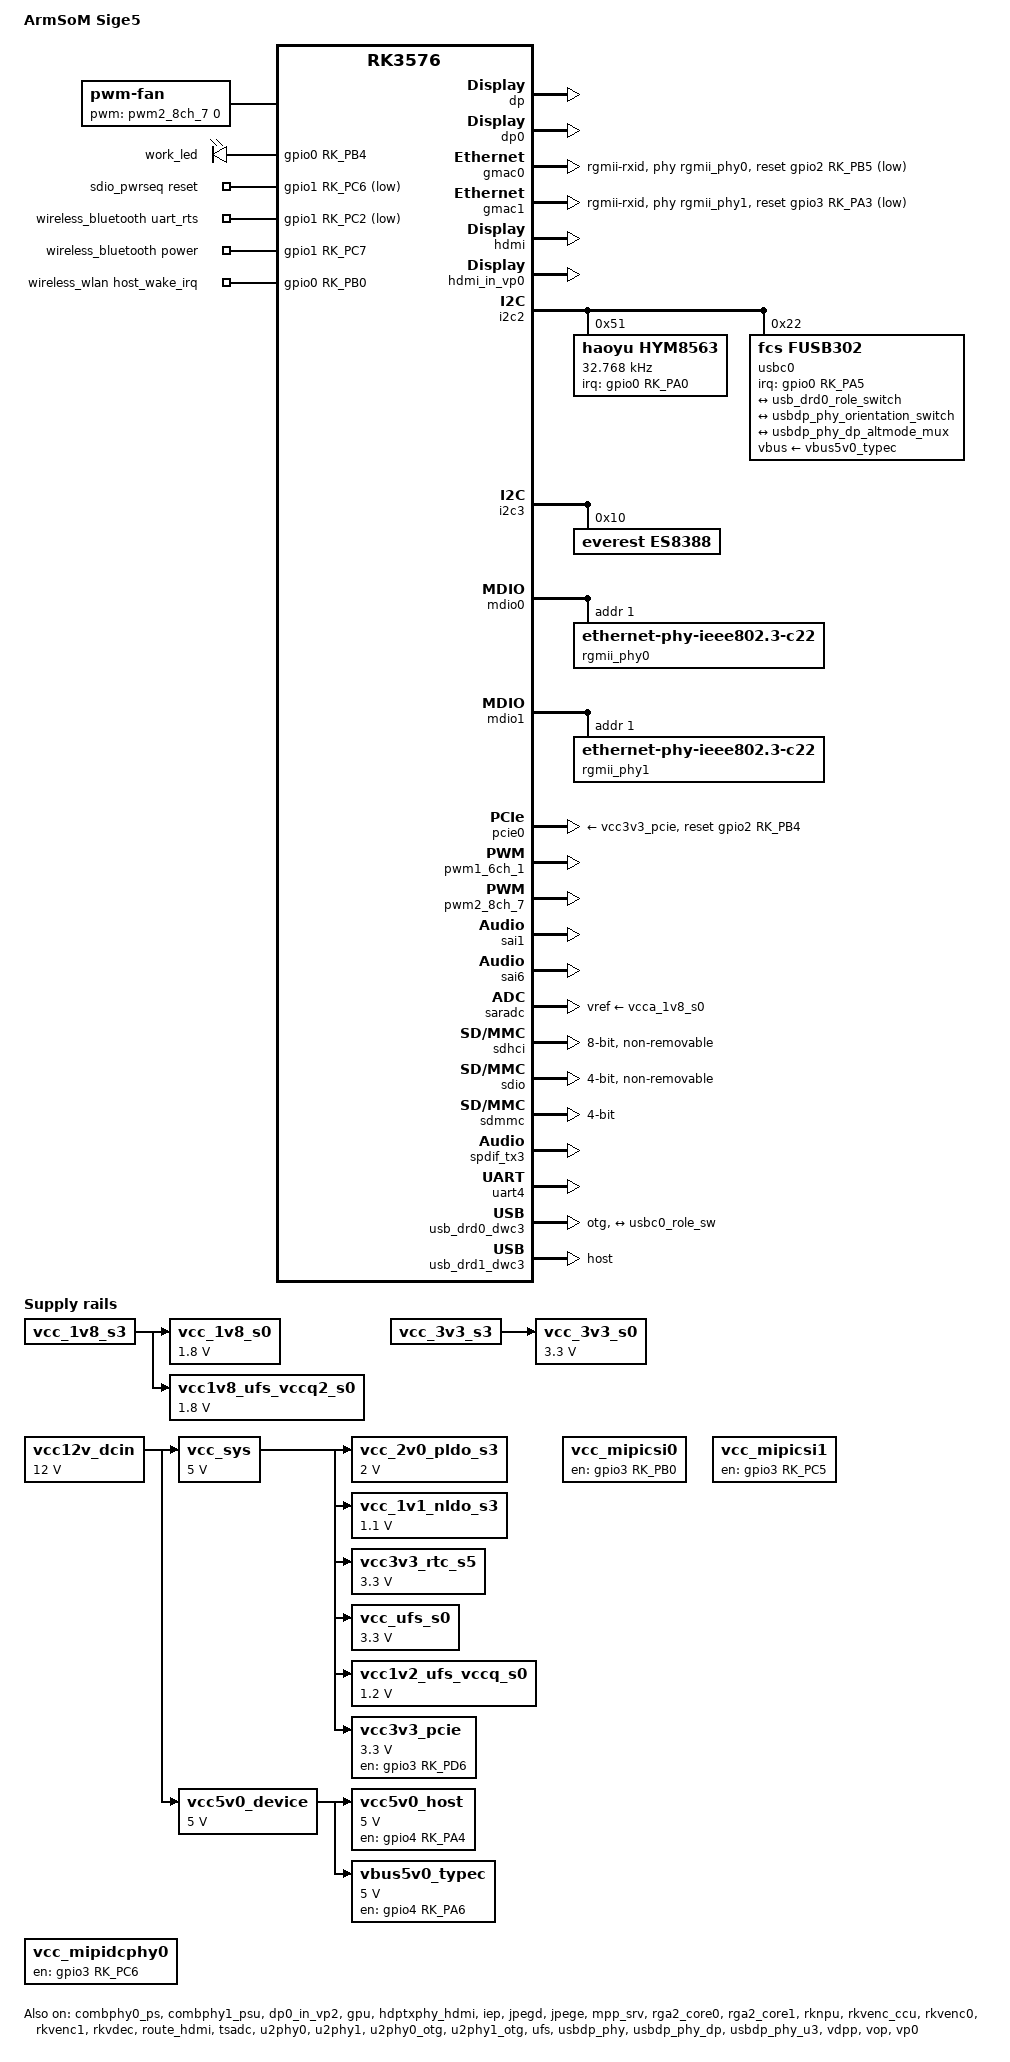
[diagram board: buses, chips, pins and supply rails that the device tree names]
// SPDX-License-Identifier: (GPL-2.0+ OR MIT)
/*
 * Copyright (c) 2024 Rockchip Electronics Co., Ltd.
 *
 */

/dts-v1/;

#include <dt-bindings/display/rockchip_vop.h>
#include <dt-bindings/gpio/gpio.h>
#include <dt-bindings/leds/common.h>
#include <dt-bindings/pinctrl/rockchip.h>
#include <dt-bindings/pwm/pwm.h>
#include <dt-bindings/usb/pd.h>
#include "rk3576.dtsi"
#include "rk3576-rk806.dtsi"
#include "rk3576-linux.dtsi"

/ {
	model = "ArmSoM Sige5";
	compatible = "armsom,sige5", "rockchip,rk3576";

	/delete-node/ chosen;

	dp0_sound: dp0-sound {
		compatible = "rockchip,hdmi";
		rockchip,mclk-fs = <512>;
		rockchip,card-name = "rockchip-dp0";
		rockchip,cpu = <&spdif_tx3>;
		rockchip,codec = <&dp0 1>;
		rockchip,jack-det;
	};

	es8388_sound: es8388-sound {
		status = "okay";
		compatible = "simple-audio-card";
		simple-audio-card,format = "i2s";
		simple-audio-card,mclk-fs = <256>;
		simple-audio-card,name = "rockchip,es8388-codec";
		simple-audio-card,dai-link@0 {
			format = "i2s";
			cpu {
				sound-dai = <&sai1>;
			};
			codec {
				sound-dai = <&es8388>;
			};
		};
	};
	
	fan: pwm-fan {
		compatible = "pwm-fan";
		#cooling-cells = <2>;
		pwms = <&pwm2_8ch_7 0 50000 0>;
		cooling-levels = <0 50 100 150 200 255>;
		rockchip,temp-trips = <
			50000	1
			55000	2
			60000	3
			65000	4
			70000	5
		>;
	};

	hdmi_sound: hdmi-sound {
		compatible = "rockchip,hdmi";
		rockchip,mclk-fs = <128>;
		rockchip,card-name = "rockchip-hdmi";
		rockchip,cpu = <&sai6>;
		rockchip,codec = <&hdmi>;
		rockchip,jack-det;
	};

	leds: leds {
		compatible = "gpio-leds";
		work_led: work {
			gpios = <&gpio0 RK_PB4 GPIO_ACTIVE_HIGH>;
			linux,default-trigger = "heartbeat";
		};
	};

	sdio_pwrseq: sdio-pwrseq {
		compatible = "mmc-pwrseq-simple";
		pinctrl-names = "default";
		pinctrl-0 = <&wifi_poweren_gpio>;

		/*
		 * On the module itself this is one of these (depending
		 * on the actual card populated):
		 * - SDIO_RESET_L_WL_REG_ON
		 * - PDN (power down when low)
		 */
		post-power-on-delay-ms = <200>;
		reset-gpios = <&gpio1 RK_PC6 GPIO_ACTIVE_LOW>;
	};

	vcc12v_dcin: vcc12v-dcin {
		compatible = "regulator-fixed";
		regulator-name = "vcc12v_dcin";
		regulator-always-on;
		regulator-boot-on;
		regulator-min-microvolt = <12000000>;
		regulator-max-microvolt = <12000000>;
	};

	vcc_sys: vcc5v0-sys {
		compatible = "regulator-fixed";
		regulator-name = "vcc_sys";
		regulator-always-on;
		regulator-boot-on;
		regulator-min-microvolt = <5000000>;
		regulator-max-microvolt = <5000000>;
		vin-supply = <&vcc12v_dcin>;
	};

	vcc5v0_device: vcc5v0-device {
		compatible = "regulator-fixed";
		regulator-name = "vcc5v0_device";
		regulator-always-on;
		regulator-boot-on;
		regulator-min-microvolt = <5000000>;
		regulator-max-microvolt = <5000000>;
		vin-supply = <&vcc12v_dcin>;
	};

	vcc_2v0_pldo_s3: vcc-2v0-pldo-s3 {
		compatible = "regulator-fixed";
		regulator-name = "vcc_2v0_pldo_s3";
		regulator-boot-on;
		regulator-always-on;
		regulator-min-microvolt = <2000000>;
		regulator-max-microvolt = <2000000>;
		vin-supply = <&vcc_sys>;
	};

	vcc_1v1_nldo_s3: vcc-1v1-nldo-s3 {
		compatible = "regulator-fixed";
		regulator-name = "vcc_1v1_nldo_s3";
		regulator-boot-on;
		regulator-always-on;
		regulator-min-microvolt = <1100000>;
		regulator-max-microvolt = <1100000>;
		vin-supply = <&vcc_sys>;
	};

	vcc3v3_rtc_s5: vcc3v3-rtc-s5 {
		compatible = "regulator-fixed";
		regulator-name = "vcc3v3_rtc_s5";
		regulator-boot-on;
		regulator-always-on;
		regulator-min-microvolt = <3300000>;
		regulator-max-microvolt = <3300000>;
		vin-supply = <&vcc_sys>;
	};
	vcc_1v8_s0: vcc-1v8-s0 {
		compatible = "regulator-fixed";
		regulator-name = "vcc_1v8_s0";
		regulator-boot-on;
		regulator-always-on;
		regulator-min-microvolt = <1800000>;
		regulator-max-microvolt = <1800000>;
		vin-supply = <&vcc_1v8_s3>;
	};

	vcc_3v3_s0: vcc-3v3-s0 {
		compatible = "regulator-fixed";
		regulator-name = "vcc_3v3_s0";
		regulator-boot-on;
		regulator-always-on;
		regulator-min-microvolt = <3300000>;
		regulator-max-microvolt = <3300000>;
		vin-supply = <&vcc_3v3_s3>;
	};

	vcc_ufs_s0: vcc-ufs-s0 {
		compatible = "regulator-fixed";
		regulator-name = "vcc_ufs_s0";
		regulator-boot-on;
		regulator-always-on;
		regulator-min-microvolt = <3300000>;
		regulator-max-microvolt = <3300000>;
		vin-supply = <&vcc_sys>;
	};

	vcc1v8_ufs_vccq2_s0: vcc1v8-ufs-vccq2-s0 {
		compatible = "regulator-fixed";
		regulator-name = "vcc1v8_ufs_vccq2_s0";
		regulator-boot-on;
		regulator-always-on;
		regulator-min-microvolt = <1800000>;
		regulator-max-microvolt = <1800000>;
		vin-supply = <&vcc_1v8_s3>;
	};

	vcc1v2_ufs_vccq_s0: vcc1v2-ufs-vccq-s0 {
		compatible = "regulator-fixed";
		regulator-name = "vcc1v2_ufs_vccq_s0";
		regulator-boot-on;
		regulator-always-on;
		regulator-min-microvolt = <1200000>;
		regulator-max-microvolt = <1200000>;
		vin-supply = <&vcc_sys>;
	};

	vcc3v3_pcie: gpio-regulator {
		compatible = "regulator-fixed";
		regulator-name = "vcc3v3_pcie";
		regulator-min-microvolt = <3300000>;
		regulator-max-microvolt = <3300000>;
		enable-active-high;
		gpio = <&gpio3 RK_PD6 GPIO_ACTIVE_HIGH>;
		startup-delay-us = <5000>;
		vin-supply = <&vcc_sys>;
	};

	vcc5v0_host: vcc5v0-host {
		compatible = "regulator-fixed";
		regulator-name = "vcc5v0_host";
		regulator-boot-on;
		regulator-always-on;
		regulator-min-microvolt = <5000000>;
		regulator-max-microvolt = <5000000>;
		enable-active-high;
		gpio = <&gpio4 RK_PA4 GPIO_ACTIVE_HIGH>;
		vin-supply = <&vcc5v0_device>;
		pinctrl-names = "default";
		pinctrl-0 = <&usb_host_pwren>;
	};

	vbus5v0_typec: vbus5v0-typec {
		compatible = "regulator-fixed";
		regulator-name = "vbus5v0_typec";
		regulator-min-microvolt = <5000000>;
		regulator-max-microvolt = <5000000>;
		enable-active-high;
		gpio = <&gpio4 RK_PA6 GPIO_ACTIVE_HIGH>;
		vin-supply = <&vcc5v0_device>;
		pinctrl-names = "default";
		pinctrl-0 = <&usb_otg0_pwren>;
	};

	vcc_mipicsi0: vcc-mipicsi0-regulator {
		compatible = "regulator-fixed";
		gpio = <&gpio3 RK_PB0 GPIO_ACTIVE_HIGH>;
		pinctrl-names = "default";
		pinctrl-0 = <&mipicsi0_pwr>;
		regulator-name = "vcc_mipicsi0";
		enable-active-high;
	};

	vcc_mipicsi1: vcc-mipicsi1-regulator {
		compatible = "regulator-fixed";
		gpio = <&gpio3 RK_PC5 GPIO_ACTIVE_HIGH>;
		pinctrl-names = "default";
		pinctrl-0 = <&mipicsi1_pwr>;
		regulator-name = "vcc_mipicsi1";
		enable-active-high;
	};

	vcc_mipidcphy0: vcc-mipidcphy0-regulator {
		compatible = "regulator-fixed";
		gpio = <&gpio3 RK_PC6 GPIO_ACTIVE_HIGH>;
		pinctrl-names = "default";
		pinctrl-0 = <&mipidcphy0_pwr>;
		regulator-name = "vcc_mipidcphy0";
		enable-active-high;
	};

	wireless_bluetooth: wireless-bluetooth {
		compatible = "bluetooth-platdata";
		//wifi-bt-power-toggle;
		uart_rts_gpios = <&gpio1 RK_PC2 GPIO_ACTIVE_LOW>;
		pinctrl-names = "default", "rts_gpio";
		pinctrl-0 = <&uart4m1_rtsn>;
		pinctrl-1 = <&uart4m1_rts_gpio>;
		BT,power_gpio = <&gpio1 RK_PC7 GPIO_ACTIVE_HIGH>;
		//BT,reset_gpio    = <&gpio3 RK_PC3 GPIO_ACTIVE_HIGH>;
		//BT,wake_host_irq = <&gpio1 RK_PC2 GPIO_ACTIVE_HIGH>;
	};

	wireless_wlan: wireless-wlan {
		compatible = "wlan-platdata";
		wifi_chip_type = "rtl8852bs";
		clocks = <&hym8563>; //如果使用hym8563，只能配置一个
		clock-names = "ext_clock";
		pinctrl-names = "default";
		pinctrl-0 = <&wifi_host_wake_irq>;
		WIFI,host_wake_irq = <&gpio0 RK_PB0 GPIO_ACTIVE_HIGH>;
	};
};

&combphy0_ps {
	status = "okay";
};

&combphy1_psu {
	status = "okay";
};

&combphy0_ps {
	status = "okay";
};

&combphy1_psu {
	status = "okay";
};

&cpu_l0 {
	cpu-supply = <&vdd_cpu_lit_s0>;
};

&cpu_b0 {
	cpu-supply = <&vdd_cpu_big_s0>;
};

&display_subsystem {
	clocks = <&hdptxphy_hdmi>;
	clock-names = "hdmi0_phy_pll";
};

&dp {
	status = "okay";
};

&dp0 {
	status = "okay";
};

&dp0_in_vp2 {
	status = "okay";
};

&gmac0 {
	/* Use rgmii-rxid mode to disable rx delay inside Soc */
	phy-mode = "rgmii-rxid";
	clock_in_out = "output";

	snps,reset-gpio = <&gpio2 RK_PB5 GPIO_ACTIVE_LOW>;
	snps,reset-active-low;
	/* Reset time is 20ms, 100ms for rtl8211f */
	snps,reset-delays-us = <0 20000 100000>;

	pinctrl-names = "default";
	pinctrl-0 = <&eth0m0_miim
		     &eth0m0_tx_bus2
		     &eth0m0_rx_bus2
		     &eth0m0_rgmii_clk
		     &eth0m0_rgmii_bus
		     &ethm0_clk0_25m_out>;

	tx_delay = <0x21>;
	/* rx_delay = <0x3f>; */

	phy-handle = <&rgmii_phy0>;
	status = "okay";
};

&gmac1 {
	/* Use rgmii-rxid mode to disable rx delay inside Soc */
	phy-mode = "rgmii-rxid";
	clock_in_out = "output";

	snps,reset-gpio = <&gpio3 RK_PA3 GPIO_ACTIVE_LOW>;
	snps,reset-active-low;
	/* Reset time is 20ms, 100ms for rtl8211f */
	snps,reset-delays-us = <0 20000 100000>;

	pinctrl-names = "default";
	pinctrl-0 = <&eth1m0_miim
		     &eth1m0_tx_bus2
		     &eth1m0_rx_bus2
		     &eth1m0_rgmii_clk
		     &eth1m0_rgmii_bus
		     &ethm0_clk1_25m_out>;

	tx_delay = <0x20>;
	/* rx_delay = <0x3f>; */

	phy-handle = <&rgmii_phy1>;
	status = "okay";
};

&gpu {
	mali-supply = <&vdd_gpu_s0>;
	status = "okay";
};

&hdmi {
	status = "okay";
	enable-gpios = <&gpio2 RK_PB0 GPIO_ACTIVE_HIGH>;
	rockchip,sda-falling-delay-ns = <360>;
};

&hdmi_in_vp0 {
	status = "okay";
};

&hdptxphy_hdmi {
	status = "okay";
};

&i2c2 {
	status = "okay";

	hym8563: hym8563@51 {
		compatible = "haoyu,hym8563";
		reg = <0x51>;
		#clock-cells = <0>;
		clock-frequency = <32768>;
		clock-output-names = "hym8563";
		pinctrl-names = "default";
		pinctrl-0 = <&hym8563_int>;
		interrupt-parent = <&gpio0>;
		interrupts = <RK_PA0 IRQ_TYPE_LEVEL_LOW>;
		wakeup-source;
	};

	usbc0: fusb302@22 {
		compatible = "fcs,fusb302";
		reg = <0x22>;
		interrupt-parent = <&gpio0>;
		interrupts = <RK_PA5 IRQ_TYPE_LEVEL_LOW>;
		pinctrl-names = "default";
		pinctrl-0 = <&usbc0_int>;
		vbus-supply = <&vbus5v0_typec>;

		port {
			usbc0_role_sw: endpoint {
				remote-endpoint = <&usb_drd0_role_switch>;
			};
		};

		usb_con: connector {
			compatible = "usb-c-connector";
			label = "USB-C";
			data-role = "dual";
			power-role = "dual";
			try-power-role = "sink";
			op-sink-microwatt = <1000000>;
			sink-pdos =
				<PDO_FIXED(5000, 1000, PDO_FIXED_USB_COMM)>;
			source-pdos =
				<PDO_FIXED(5000, 3000, PDO_FIXED_USB_COMM)>;

			altmodes {
				#address-cells = <1>;
				#size-cells = <0>;

				altmode@0 {
					reg = <0>;
					svid = <0xff01>;
					vdo = <0xffffffff>;
				};
			};

			ports {
				#address-cells = <1>;
				#size-cells = <0>;

				port@0 {
					reg = <0>;
					usbc0_orien_sw: endpoint {
						remote-endpoint = <&usbdp_phy_orientation_switch>;
					};
				};

				port@1 {
					reg = <1>;
					dp_altmode_mux: endpoint {
						remote-endpoint = <&usbdp_phy_dp_altmode_mux>;
					};
				};
			};
		};
	};
};

&i2c3 {
	status = "okay";
	es8388: es8388@10 {
		status = "okay";
		#sound-dai-cells = <0>;
		compatible = "everest,es8388", "everest,es8323";
		reg = <0x10>;
		clocks = <&mclkout_sai1>;
		clock-names = "mclk";
		assigned-clocks = <&mclkout_sai1>;
		assigned-clock-rates = <12288000>;
		pinctrl-names = "default";
		pinctrl-0 = <&sai1m0_mclk>;
	};
};

&iep {
	status = "okay";
};

&iep_mmu {
	status = "okay";
};

&jpegd {
	status = "okay";
};

&jpege {
	status = "okay";
};

&jpeg_mmu {
	status = "okay";
};

&mdio0 {
	rgmii_phy0: phy@1 {
		compatible = "ethernet-phy-ieee802.3-c22";
		reg = <0x1>;
		clocks = <&cru REFCLKO25M_GMAC0_OUT>;
	};
};

&mdio1 {
	rgmii_phy1: phy@1 {
		compatible = "ethernet-phy-ieee802.3-c22";
		reg = <0x1>;
		clocks = <&cru REFCLKO25M_GMAC1_OUT>;
	};
};

&mpp_srv {
	status = "okay";
};

&pcie0 {
	reset-gpios = <&gpio2 RK_PB4 GPIO_ACTIVE_HIGH>;
	vpcie3v3-supply = <&vcc3v3_pcie>;
	status = "okay";
};

&pinctrl {
	cam {
		mipicsi0_pwr: mipicsi0-pwr {
			rockchip,pins =
				/* camera power en */
				<3 RK_PB0 RK_FUNC_GPIO &pcfg_pull_none>;
		};

		mipicsi1_pwr: mipicsi1-pwr {
			rockchip,pins =
				/* camera power en */
				<3 RK_PC5 RK_FUNC_GPIO &pcfg_pull_none>;
		};

		mipidcphy0_pwr: mipidcphy0-pwr {
			rockchip,pins =
				/* camera power en */
				<3 RK_PC6 RK_FUNC_GPIO &pcfg_pull_none>;
		};
	};

	headphone {
		hp_det: hp-det {
			rockchip,pins = <0 RK_PD3 RK_FUNC_GPIO &pcfg_pull_up>;
		};
	};

	hym8563 {
		hym8563_int: hym8563-int {
			rockchip,pins = <0 RK_PA0 RK_FUNC_GPIO &pcfg_pull_up>;
		};
	};

	leds {
		led_rgb_r: led-red-en {
			rockchip,pins = <4 RK_PB1 RK_FUNC_GPIO &pcfg_pull_none>;
		};
		led_rgb_g: led-green-en {
			rockchip,pins = <4 RK_PB2 RK_FUNC_GPIO &pcfg_pull_none>;
		};
	};

	usb {
		usb_host_pwren: usb-host-pwren {
			rockchip,pins = <4 RK_PA4 RK_FUNC_GPIO &pcfg_pull_none>;
		};

		usb_otg0_pwren: usb-otg0-pwren {
			rockchip,pins = <4 RK_PA6 RK_FUNC_GPIO &pcfg_pull_none>;
		};

		usbc0_int: usbc0-int {
			rockchip,pins = <0 RK_PA5 RK_FUNC_GPIO &pcfg_pull_up>;
		};
	};

	wireless-bluetooth {
		uart4m1_rts_gpio: uart4m1-rts-gpio {
			rockchip,pins = <1 RK_PC2 RK_FUNC_GPIO &pcfg_pull_none>;
		};
	};

	wireless-wlan {
		wifi_host_wake_irq: wifi-host-wake-irq {
			rockchip,pins = <0 RK_PB0 RK_FUNC_GPIO &pcfg_pull_down>;
		};

		wifi_poweren_gpio: wifi-poweren-gpio {
			rockchip,pins = <1 RK_PC6 RK_FUNC_GPIO &pcfg_pull_none>;
		};
	};
};

&pwm1_6ch_1 {
	status = "okay";
	pinctrl-0 = <&pwm1m0_ch1>;
};

&pwm2_8ch_7 {
	status = "okay";
	pinctrl-0 = <&pwm2m3_ch7>;
};

&rga2_core0 {
	status = "okay";
};

&rga2_core0_mmu {
	status = "okay";
};

&rga2_core1 {
	status = "okay";
};

&rga2_core1_mmu {
	status = "okay";
};

&rknpu {
	rknpu-supply = <&vdd_npu_s0>;
	status = "okay";
};

&rknpu_mmu {
	status = "okay";
};

&rkvenc_ccu {
	status = "okay";
};

&rkvenc0 {
	status = "okay";
};

&rkvenc0_mmu {
	status = "okay";
};

&rkvenc1 {
	status = "okay";
};

&rkvenc1_mmu {
	status = "okay";

};

&rkvdec {
	status = "okay";
};

&rkvdec_mmu {
	status = "okay";
};

&rockchip_suspend {
	status = "okay";
	rockchip,sleep-debug-en = <1>;

	rockchip,sleep-io-ret-config = <
		(0
		| RKPM_VCCIO3_RET_EN
		)
	>;
};

&route_hdmi {
	status = "okay";
	connect = <&vp0_out_hdmi>;
};

&sai1 {
	status = "okay";
	pinctrl-names = "default";
	pinctrl-0 = <&sai1m0_lrck
		     &sai1m0_sclk
		     &sai1m0_sdi0
		     &sai1m0_sdo0>;
};

&sai6 {
	status = "okay";
};

&saradc {
	status = "okay";
	vref-supply = <&vcca_1v8_s0>;
};

&sdhci {
	bus-width = <8>;
	no-sdio;
	no-sd;
	non-removable;
	max-frequency = <200000000>;
	mmc-hs400-1_8v;
	mmc-hs400-enhanced-strobe;
	full-pwr-cycle-in-suspend;
	status = "okay";
};

&sdio {
	max-frequency = <100000000>;
	no-sd;
	no-mmc;
	bus-width = <4>;
	disable-wp;
	cap-sd-highspeed;
	cap-sdio-irq;
	keep-power-in-suspend;
	mmc-pwrseq = <&sdio_pwrseq>;
	non-removable;
	pinctrl-names = "default";
	pinctrl-0 = <&sdmmc1m0_bus4 &sdmmc1m0_clk &sdmmc1m0_cmd>;
	sd-uhs-sdr50;
	sd-uhs-sdr104;
	status = "okay";
};

&sdmmc {
	max-frequency = <200000000>;
	no-sdio;
	no-mmc;
	bus-width = <4>;
	cap-mmc-highspeed;
	cap-sd-highspeed;
	disable-wp;
	sd-uhs-sdr104;
	vqmmc-supply = <&vccio_sd_s0>;
	status = "okay";
};

&spdif_tx3 {
	status = "okay";
};

&tsadc {
	status = "okay";
};

&u2phy0 {
	status = "okay";
};

&u2phy1 {
	status = "okay";
};

&u2phy0_otg {
	rockchip,typec-vbus-det;
	status = "okay";
};

&u2phy1_otg {
	phy-supply = <&vcc5v0_host>;
	status = "okay";
};

&uart4 {
	status = "okay";
	pinctrl-names = "default";
	pinctrl-0 = <&uart4m1_xfer &uart4m1_ctsn>;
};

&ufs {
	reset-gpios = <&gpio4 RK_PD0 GPIO_ACTIVE_HIGH>;
	status = "okay";
};

&usbdp_phy {
	orientation-switch;
	svid = <0xff01>;
	sbu1-dc-gpios = <&gpio2 RK_PA6 GPIO_ACTIVE_HIGH>;
	sbu2-dc-gpios = <&gpio2 RK_PA7 GPIO_ACTIVE_HIGH>;
	status = "okay";

	port {
		#address-cells = <1>;
		#size-cells = <0>;

		usbdp_phy_orientation_switch: endpoint@0 {
			reg = <0>;
			remote-endpoint = <&usbc0_orien_sw>;
		};

		usbdp_phy_dp_altmode_mux: endpoint@1 {
			reg = <1>;
			remote-endpoint = <&dp_altmode_mux>;
		};
	};
};

&usbdp_phy_dp {
	status = "okay";
};

&usbdp_phy_u3 {
	status = "okay";
};

&usb_drd0_dwc3 {
	dr_mode = "otg";
	usb-role-switch;
	status = "okay";
	port {
		usb_drd0_role_switch: endpoint {
			remote-endpoint = <&usbc0_role_sw>;
		};
	};
};

&usb_drd1_dwc3 {
	dr_mode = "host";
	status = "okay";
};

&vdpp {
	status = "okay";
};

&vop {
	status = "okay";
	/* vop-supply = <&vdd_logic_s0>; */
};

&vop_mmu {
	status = "okay";
};

&vp0 {
	status = "okay";
};

&vp2 {
	assigned-clocks = <&cru DCLK_VP2_SRC>;
	assigned-clock-parents = <&cru PLL_VPLL>;
};
